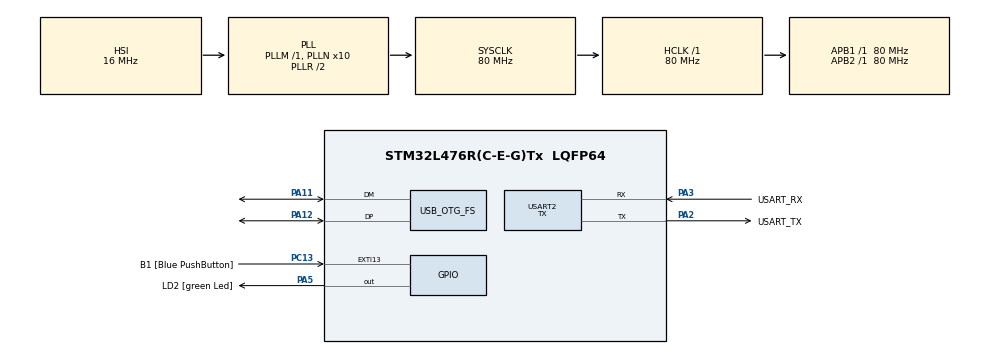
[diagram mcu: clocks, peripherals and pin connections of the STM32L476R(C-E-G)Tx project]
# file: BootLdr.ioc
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Mcu.Family=STM32L4
Mcu.Name=STM32L476R(C-E-G)Tx
Mcu.Package=LQFP64
NVIC.OTG_FS_IRQn=true\:0\:0\:false\:false\:true\:false
NVIC.PriorityGroup=NVIC_PRIORITYGROUP_4
PA11.Mode=Device_Only
PA11.Signal=USB_OTG_FS_DM
PA12.Mode=Device_Only
PA12.Signal=USB_OTG_FS_DP
PA13\ (JTMS-SWDIO).GPIO_Label=TMS
PA13\ (JTMS-SWDIO).Mode=Trace_Asynchronous_SW
PA13\ (JTMS-SWDIO).Signal=SYS_JTMS-SWDIO
PA14\ (JTCK-SWCLK).GPIO_Label=TCK
PA14\ (JTCK-SWCLK).Mode=Trace_Asynchronous_SW
PA14\ (JTCK-SWCLK).Signal=SYS_JTCK-SWCLK
PA2.GPIO_Label=USART_TX
PA2.GPIO_Mode=GPIO_MODE_AF_PP
PA2.GPIO_PuPd=GPIO_NOPULL
PA2.GPIO_Speed=GPIO_SPEED_FREQ_VERY_HIGH
PA2.Mode=Asynchronous
PA2.Signal=USART2_TX
PA3.GPIO_Label=USART_RX
PA3.GPIO_Mode=GPIO_MODE_AF_PP
PA3.GPIO_PuPd=GPIO_NOPULL
PA3.GPIO_Speed=GPIO_SPEED_FREQ_VERY_HIGH
PA3.Mode=Asynchronous
PA3.Signal=USART2_RX
PA5.GPIO_Label=LD2 [green Led]
PA5.GPIO_ModeDefaultOutputPP=GPIO_MODE_OUTPUT_PP
PA5.GPIO_PuPd=GPIO_NOPULL
PA5.GPIO_Speed=GPIO_SPEED_FREQ_LOW
PA5.Signal=GPIO_Output
PB3\ (JTDO-TRACESWO).GPIO_Label=SWO
PB3\ (JTDO-TRACESWO).Mode=Trace_Asynchronous_SW
PB3\ (JTDO-TRACESWO).Signal=SYS_JTDO-SWO
PC13.GPIO_Label=B1 [Blue PushButton]
PC13.GPIO_ModeDefaultEXTI=GPIO_MODE_IT_FALLING
PC13.GPIO_PuPd=GPIO_NOPULL
PC13.Signal=GPXTI13
PC14-OSC32_IN\ (PC14).Mode=LSE-External-Oscillator
PC14-OSC32_IN\ (PC14).Signal=RCC_OSC32_IN
PC15-OSC32_OUT\ (PC15).Mode=LSE-External-Oscillator
PC15-OSC32_OUT\ (PC15).Signal=RCC_OSC32_OUT
PH0-OSC_IN\ (PH0).Signal=RCC_OSC_IN
PH1-OSC_OUT\ (PH1).Signal=RCC_OSC_OUT
ProjectManager.HeapSize=0x2000
ProjectManager.StackSize=0x2000
ProjectManager.TargetToolchain=TrueSTUDIO
RCC.ADCFreq_Value=64000000
RCC.AHBFreq_Value=80000000
RCC.APB1Freq_Value=80000000
RCC.APB1TimFreq_Value=80000000
RCC.APB2Freq_Value=80000000
RCC.APB2TimFreq_Value=80000000
RCC.CK48CLockSelection=RCC_USBCLKSOURCE_MSI
RCC.CortexFreq_Value=80000000
RCC.HCLKFreq_Value=80000000
RCC.HSE_VALUE=8000000
RCC.HSI_VALUE=16000000
RCC.MSIClockRange=RCC_MSIRANGE_11
RCC.MSI_VALUE=48000000
RCC.PLLN=10
RCC.PLLSourceVirtual=RCC_PLLSOURCE_HSI
RCC.PREFETCH_ENABLE=1
RCC.RTCClockSelection=RCC_RTCCLKSOURCE_LSE
RCC.SYSCLKFreq_VALUE=80000000
RCC.SYSCLKSource=RCC_SYSCLKSOURCE_PLLCLK
RCC.USBFreq_Value=48000000
RCC.VCOOutputFreq_Value=160000000
RTC.Format=RTC_FORMAT_BIN
USART2.Mode=MODE_TX
USART2.VirtualMode-Asynchronous=VM_ASYNC
USART2.WordLength=WORDLENGTH_8B
USB_DEVICE.CLASS_NAME_FS=DFU
USB_DEVICE.VirtualMode=Dfu
USB_DEVICE.VirtualModeFS=Dfu_FS
USB_OTG_FS.VirtualMode=Device_Only
VP_RNG_VS_RNG.Mode=RNG_Activate
VP_RTC_VS_RTC_Activate.Mode=RTC_Enabled
VP_RTC_VS_RTC_Calendar.Mode=RTC_Calendar
VP_USB_DEVICE_VS_USB_DEVICE_DFU_FS.Mode=DFU_FS
board=NUCLEO-L476RG

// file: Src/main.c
/**
  ******************************************************************************
  * @file           : main.c
  * @brief          : Main program body
  ******************************************************************************
  * This notice applies to any and all portions of this file
  * that are not between comment pairs USER CODE BEGIN and
  * USER CODE END. Other portions of this file, whether
  * inserted by the user or by software development tools
  * are owned by their respective copyright owners.
  *
  * Copyright (c) 2018 STMicroelectronics International N.V.
  * All rights reserved.
  *
  * Redistribution and use in source and binary forms, with or without
  * modification, are permitted, provided that the following conditions are met:
  *
  * 1. Redistribution of source code must retain the above copyright notice,
  *    this list of conditions and the following disclaimer.
  * 2. Redistributions in binary form must reproduce the above copyright notice,
  *    this list of conditions and the following disclaimer in the documentation
  *    and/or other materials provided with the distribution.
  * 3. Neither the name of STMicroelectronics nor the names of other
  *    contributors to this software may be used to endorse or promote products
  *    derived from this software without specific written permission.
  * 4. This software, including modifications and/or derivative works of this
  *    software, must execute solely and exclusively on microcontroller or
  *    microprocessor devices manufactured by or for STMicroelectronics.
  * 5. Redistribution and use of this software other than as permitted under
  *    this license is void and will automatically terminate your rights under
  *    this license.
  *
  * THIS SOFTWARE IS PROVIDED BY STMICROELECTRONICS AND CONTRIBUTORS "AS IS"
  * AND ANY EXPRESS, IMPLIED OR STATUTORY WARRANTIES, INCLUDING, BUT NOT
  * LIMITED TO, THE IMPLIED WARRANTIES OF MERCHANTABILITY, FITNESS FOR A
  * PARTICULAR PURPOSE AND NON-INFRINGEMENT OF THIRD PARTY INTELLECTUAL PROPERTY
  * RIGHTS ARE DISCLAIMED TO THE FULLEST EXTENT PERMITTED BY LAW. IN NO EVENT
  * SHALL STMICROELECTRONICS OR CONTRIBUTORS BE LIABLE FOR ANY DIRECT, INDIRECT,
  * INCIDENTAL, SPECIAL, EXEMPLARY, OR CONSEQUENTIAL DAMAGES (INCLUDING, BUT NOT
  * LIMITED TO, PROCUREMENT OF SUBSTITUTE GOODS OR SERVICES; LOSS OF USE, DATA,
  * OR PROFITS; OR BUSINESS INTERRUPTION) HOWEVER CAUSED AND ON ANY THEORY OF
  * LIABILITY, WHETHER IN CONTRACT, STRICT LIABILITY, OR TORT (INCLUDING
  * NEGLIGENCE OR OTHERWISE) ARISING IN ANY WAY OUT OF THE USE OF THIS SOFTWARE,
  * EVEN IF ADVISED OF THE POSSIBILITY OF SUCH DAMAGE.
  *
  ******************************************************************************
  */
#include "main.h"
#include "stm32l4xx_hal.h"
#include "usb_device.h"

/* USER CODE BEGIN Includes */
#include <stdint.h>
#include <stdbool.h>
#include <time.h>
#include "StmUtil.h"
#include <cyrep/RiotTarget.h>
#include <cyrep/RiotStatus.h>
#include <cyrep/RiotSha256.h>
#include <cyrep/RiotEcc.h>
#include <cyrep/RiotDerEnc.h>
#include <cyrep/RiotX509Bldr.h>
#include <cyrep/RiotCrypt.h>
#include <BarnacleTA.h>
#include <Barnacle.h>

/* USER CODE END Includes */

RNG_HandleTypeDef hrng;

RTC_HandleTypeDef hrtc;

UART_HandleTypeDef huart2;

/* USER CODE BEGIN PV */
/* Private variables ---------------------------------------------------------*/
volatile unsigned char DFU_UsrStrDescr_requested = 0;
/* USER CODE END PV */

void SystemClock_Config(void);
static void MX_GPIO_Init(void);
static void MX_USART2_UART_Init(void);
static void MX_RNG_Init(void);
static void MX_RTC_Init(void);

/* USER CODE BEGIN PFP */
/* Private function prototypes -----------------------------------------------*/

/* USER CODE END PFP */

int mainLdr(void)
{

  /* MCU Configuration----------------------------------------------------------*/

  /* Reset of all peripherals, Initializes the Flash interface and the Systick. */
  HAL_Init();

  /* Configure the system clock */
  SystemClock_Config();

  /* Initialize all configured peripherals */
  MX_GPIO_Init();
  MX_USART2_UART_Init();
  MX_RNG_Init();
  MX_RTC_Init();
  MX_USB_DEVICE_Init();
  /* USER CODE BEGIN 2 */
  InitializeITM();
  dbgPrintAppend("\r\n\r\n==========================\r\n"
                         "= Nucleo-L4A6RG Barnacle =\r\n"
                         "==========================\r\n");
  printf("Nucleo-L4A6RG Barnacle\r\n");

  if(BarnacleFWViolation())
  {
      logWarning("Firewall violation detected.\r\n");
  }

  if(!BarnacleWriteLockLoader())
  {
      logError("Write protection for BootLdr failed.\r\n");
      Error_Handler();
  }

  // Provision the device if this is the first launch
  if(!BarnacleInitialProvision())
  {
      logError("Device Provisioning failed.\r\n");
      Error_Handler();
  }

  // Briefly wait to see if DFU connects before we continue
  HAL_Delay(1000);
  if(AgentHdr.s.sign.hdr.magic != BARNACLEMAGIC)
  {
      logInfo("Waiting for DFU connection.\r\n");
      Error_Handler();
  }
  else if(DFU_UsrStrDescr_requested)
  {
      logInfo("DFU connected.\r\n");
      Error_Handler();
  }
  else
  {
      logInfo("DFU closed.\r\n");
      MX_USB_DEVICE_DeInit();
  }

  // Now that the door is firmly closed let's take a look at the agent
  if(!BarnacleVerifyAgent())
  {
      // We didn't like that agent for some reason. We will wipe the Agent space
      logInfo("Wiping agent header.\r\n");
      BarnacleErasePages((void*)&AgentHdr, sizeof(AgentHdr));

      // Reboot so we can go straight to DFU mode next time
      logInfo("Rebooting device...\r\n");
      HAL_Delay(1000);
      NVIC_SystemReset();
      Error_Handler();
  }

  // Close all the hatches
  if(!BarnacleSecureFWData())
  {
      logError("The firewall did not engage.\r\n");
      Error_Handler();
  }

  /* USER CODE END 2 */

  /* Infinite loop */
  /* USER CODE BEGIN WHILE */
  logInfo("Launching agent...\r\n");
  HAL_Delay(1);
  // Release the clock source
  HAL_RCC_DeInit();
  // Release the HAL
  HAL_DeInit();
  // Redirect the vector table to the agent vector table
  SCB->VTOR = ((uint32_t)AgentCode);
  // Wipe all accessible RAM to make sure we didn't leave anything behind
//  memset((void*)RAMWIPESTART, 0x00, RAMWIPESIZE);
  // Set the stack pointer to where the agent expects it
  __set_MSP(*((uint32_t*)AgentCode));
  // Jump into the abyss
  ((void (*)(void)) *((uint32_t*)(((uint32_t)AgentCode) + sizeof(uint32_t))))();
  // We will never return from this call!!
  while (1)
  {

  /* USER CODE END WHILE */

  /* USER CODE BEGIN 3 */
    logError("How the hell did we get here?!?\r\n");
    HAL_Delay(1000);
  }
  /* USER CODE END 3 */

}

void SystemClock_Config(void)
{

  RCC_OscInitTypeDef RCC_OscInitStruct;
  RCC_ClkInitTypeDef RCC_ClkInitStruct;
  RCC_PeriphCLKInitTypeDef PeriphClkInit;

    /**Configure LSE Drive Capability
    */
  HAL_PWR_EnableBkUpAccess();

  __HAL_RCC_LSEDRIVE_CONFIG(RCC_LSEDRIVE_LOW);

    /**Initializes the CPU, AHB and APB busses clocks
    */
  RCC_OscInitStruct.OscillatorType = RCC_OSCILLATORTYPE_HSI|RCC_OSCILLATORTYPE_LSE
                              |RCC_OSCILLATORTYPE_MSI;
  RCC_OscInitStruct.LSEState = RCC_LSE_ON;
  RCC_OscInitStruct.HSIState = RCC_HSI_ON;
  RCC_OscInitStruct.HSICalibrationValue = 16;
  RCC_OscInitStruct.MSIState = RCC_MSI_ON;
  RCC_OscInitStruct.MSICalibrationValue = 0;
  RCC_OscInitStruct.MSIClockRange = RCC_MSIRANGE_11;
  RCC_OscInitStruct.PLL.PLLState = RCC_PLL_ON;
  RCC_OscInitStruct.PLL.PLLSource = RCC_PLLSOURCE_HSI;
  RCC_OscInitStruct.PLL.PLLM = 1;
  RCC_OscInitStruct.PLL.PLLN = 10;
  RCC_OscInitStruct.PLL.PLLP = RCC_PLLP_DIV7;
  RCC_OscInitStruct.PLL.PLLQ = RCC_PLLQ_DIV2;
  RCC_OscInitStruct.PLL.PLLR = RCC_PLLR_DIV2;
  if (HAL_RCC_OscConfig(&RCC_OscInitStruct) != HAL_OK)
  {
    _Error_Handler(__FILE__, __LINE__);
  }

    /**Initializes the CPU, AHB and APB busses clocks
    */
  RCC_ClkInitStruct.ClockType = RCC_CLOCKTYPE_HCLK|RCC_CLOCKTYPE_SYSCLK
                              |RCC_CLOCKTYPE_PCLK1|RCC_CLOCKTYPE_PCLK2;
  RCC_ClkInitStruct.SYSCLKSource = RCC_SYSCLKSOURCE_PLLCLK;
  RCC_ClkInitStruct.AHBCLKDivider = RCC_SYSCLK_DIV1;
  RCC_ClkInitStruct.APB1CLKDivider = RCC_HCLK_DIV1;
  RCC_ClkInitStruct.APB2CLKDivider = RCC_HCLK_DIV1;

  if (HAL_RCC_ClockConfig(&RCC_ClkInitStruct, FLASH_LATENCY_4) != HAL_OK)
  {
    _Error_Handler(__FILE__, __LINE__);
  }

  PeriphClkInit.PeriphClockSelection = RCC_PERIPHCLK_RTC|RCC_PERIPHCLK_USART2
                              |RCC_PERIPHCLK_USB|RCC_PERIPHCLK_RNG;
  PeriphClkInit.Usart2ClockSelection = RCC_USART2CLKSOURCE_PCLK1;
  PeriphClkInit.RTCClockSelection = RCC_RTCCLKSOURCE_LSE;
  PeriphClkInit.UsbClockSelection = RCC_USBCLKSOURCE_MSI;
  PeriphClkInit.RngClockSelection = RCC_RNGCLKSOURCE_MSI;
  if (HAL_RCCEx_PeriphCLKConfig(&PeriphClkInit) != HAL_OK)
  {
    _Error_Handler(__FILE__, __LINE__);
  }

    /**Configure the main internal regulator output voltage
    */
  if (HAL_PWREx_ControlVoltageScaling(PWR_REGULATOR_VOLTAGE_SCALE1) != HAL_OK)
  {
    _Error_Handler(__FILE__, __LINE__);
  }

    /**Configure the Systick interrupt time
    */
  HAL_SYSTICK_Config(HAL_RCC_GetHCLKFreq()/1000);

    /**Configure the Systick
    */
  HAL_SYSTICK_CLKSourceConfig(SYSTICK_CLKSOURCE_HCLK);

    /**Enable MSI Auto calibration
    */
  HAL_RCCEx_EnableMSIPLLMode();

  /* SysTick_IRQn interrupt configuration */
  HAL_NVIC_SetPriority(SysTick_IRQn, 0, 0);
}

/* RNG init function */
static void MX_RNG_Init(void)
{

  hrng.Instance = RNG;
  if (HAL_RNG_Init(&hrng) != HAL_OK)
  {
    _Error_Handler(__FILE__, __LINE__);
  }

}

/* RTC init function */
static void MX_RTC_Init(void)
{

  RTC_TimeTypeDef sTime;
  RTC_DateTypeDef sDate;

    /**Initialize RTC Only
    */
  hrtc.Instance = RTC;
if(HAL_RTCEx_BKUPRead(&hrtc, RTC_BKP_DR0) != 0x32F2){
  hrtc.Init.HourFormat = RTC_HOURFORMAT_24;
  hrtc.Init.AsynchPrediv = 127;
  hrtc.Init.SynchPrediv = 255;
  hrtc.Init.OutPut = RTC_OUTPUT_DISABLE;
  hrtc.Init.OutPutRemap = RTC_OUTPUT_REMAP_NONE;
  hrtc.Init.OutPutPolarity = RTC_OUTPUT_POLARITY_HIGH;
  hrtc.Init.OutPutType = RTC_OUTPUT_TYPE_OPENDRAIN;
  if (HAL_RTC_Init(&hrtc) != HAL_OK)
  {
    _Error_Handler(__FILE__, __LINE__);
  }

    /**Initialize RTC and set the Time and Date
    */
  sTime.Hours = 0;
  sTime.Minutes = 0;
  sTime.Seconds = 0;
  sTime.DayLightSaving = RTC_DAYLIGHTSAVING_NONE;
  sTime.StoreOperation = RTC_STOREOPERATION_RESET;
  if (HAL_RTC_SetTime(&hrtc, &sTime, RTC_FORMAT_BIN) != HAL_OK)
  {
    _Error_Handler(__FILE__, __LINE__);
  }

  sDate.WeekDay = RTC_WEEKDAY_MONDAY;
  sDate.Month = RTC_MONTH_JANUARY;
  sDate.Date = 1;
  sDate.Year = 0;

  if (HAL_RTC_SetDate(&hrtc, &sDate, RTC_FORMAT_BIN) != HAL_OK)
  {
    _Error_Handler(__FILE__, __LINE__);
  }

    HAL_RTCEx_BKUPWrite(&hrtc,RTC_BKP_DR0,0x32F2);
  }

}

/* USART2 init function */
static void MX_USART2_UART_Init(void)
{

  huart2.Instance = USART2;
  huart2.Init.BaudRate = 115200;
  huart2.Init.WordLength = UART_WORDLENGTH_8B;
  huart2.Init.StopBits = UART_STOPBITS_1;
  huart2.Init.Parity = UART_PARITY_NONE;
  huart2.Init.Mode = UART_MODE_TX;
  huart2.Init.HwFlowCtl = UART_HWCONTROL_NONE;
  huart2.Init.OverSampling = UART_OVERSAMPLING_16;
  huart2.Init.OneBitSampling = UART_ONE_BIT_SAMPLE_DISABLE;
  huart2.AdvancedInit.AdvFeatureInit = UART_ADVFEATURE_NO_INIT;
  if (HAL_UART_Init(&huart2) != HAL_OK)
  {
    _Error_Handler(__FILE__, __LINE__);
  }

}

/** Configure pins as
        * Analog
        * Input
        * Output
        * EVENT_OUT
        * EXTI
*/
static void MX_GPIO_Init(void)
{

  GPIO_InitTypeDef GPIO_InitStruct;

  /* GPIO Ports Clock Enable */
  __HAL_RCC_GPIOC_CLK_ENABLE();
  __HAL_RCC_GPIOH_CLK_ENABLE();
  __HAL_RCC_GPIOA_CLK_ENABLE();
  __HAL_RCC_GPIOB_CLK_ENABLE();

  /*Configure GPIO pin Output Level */
  HAL_GPIO_WritePin(LD2_GPIO_Port, LD2_Pin, GPIO_PIN_RESET);

  /*Configure GPIO pin : B1_Pin */
  GPIO_InitStruct.Pin = B1_Pin;
  GPIO_InitStruct.Mode = GPIO_MODE_IT_FALLING;
  GPIO_InitStruct.Pull = GPIO_NOPULL;
  HAL_GPIO_Init(B1_GPIO_Port, &GPIO_InitStruct);

  /*Configure GPIO pin : LD2_Pin */
  GPIO_InitStruct.Pin = LD2_Pin;
  GPIO_InitStruct.Mode = GPIO_MODE_OUTPUT_PP;
  GPIO_InitStruct.Pull = GPIO_NOPULL;
  GPIO_InitStruct.Speed = GPIO_SPEED_FREQ_LOW;
  HAL_GPIO_Init(LD2_GPIO_Port, &GPIO_InitStruct);

}

void _Error_Handler(char *file, int line)
{
  /* USER CODE BEGIN Error_Handler_Debug */
  dbgPrint("PANIC: EXECUTION HALTED %s@%d\r\n", file, line);
  /* User can add his own implementation to report the HAL error return state */
  while(1)
  {
  }
  /* USER CODE END Error_Handler_Debug */
}

/************************ (C) COPYRIGHT STMicroelectronics *****END OF FILE****/
